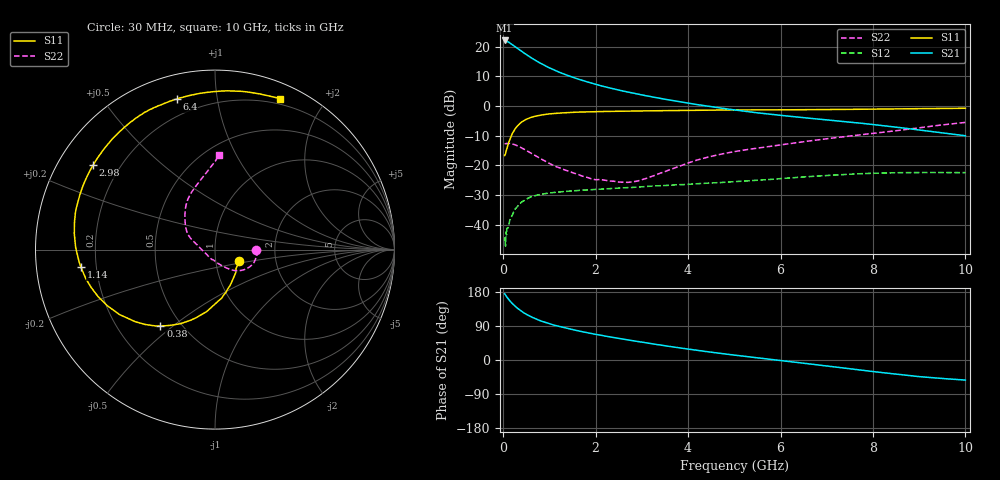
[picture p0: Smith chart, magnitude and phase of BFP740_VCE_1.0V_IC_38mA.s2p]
! Infineon Technologies  Discrete & RF Semiconductors
! BFP740
! VCE =  1.0 V,  IC =  38 mA
! Common Emitter S-Parameters:  Jan 2016
# GHz  S  MA  R  50
!  f  S11  S21  S12  S22
! GHz  MAG  ANG  MAG  ANG  MAG  ANG  MAG  ANG
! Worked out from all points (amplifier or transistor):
!   229 points, 30 MHz to 10 GHz, reference 50 ohm
!   highest |S21| = 22.0 dB at 30 MHz (marker M1)
!   |S21| within 3 dB of that: start of sweep to 340.8 MHz
!   unconditionally stable (mu >= 1): start of sweep to end of sweep
!   at 280 MHz: K = 2.08, MAG = 21.1 dB, |S12| = -34.3 dB
!   at 1.78 GHz: K = 1.81, MAG = 13.1 dB, |S12| = -28.3 dB
!   at 10 GHz: K = 2.78, MAG = -1.1 dB, |S12| = -22.4 dB
!   S11 on the Smith chart (normalised r, x): 30 MHz: 1.29, -0.17; 380 MHz: 0.39, -0.45; 1.14 GHz: 0.14, -0.06; 2.98 GHz: 0.10, +0.31; 6.4 GHz: 0.12, +0.77; 10 GHz: 0.14, +1.51
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0.03  0.1469 -26.5  12.65 174.8  0.0053 16.5  0.2305 -1.2
0.05  0.1573 -41.7  12.47 171.3  0.0044 33.7  0.2324 -2.7
0.06  0.1723 -47.6  12.41 169.3  0.0076 32.6  0.2325 -4.1
0.11  0.2313 -72.3  11.92 161.2  0.0092 48.4  0.2343 -8.5
0.15  0.2835 -85.5  11.38 155.2  0.0124 47.8  0.2325 -12.2
0.2  0.3477 -97.5  10.74 148.6  0.0148 49.9  0.2298 -17.4
0.3  0.4557 -115.0  9.434 137.3  0.0201 47.1  0.2158 -26.5
0.38  0.5228 -125.6  8.504 129.9  0.0236 43.5  0.2009 -33.0
0.5  0.5986 -137.8  7.314 120.5  0.0273 38.8  0.1791 -41.0
0.6  0.643 -145.7  6.505 114.1  0.0297 35.2  0.1617 -46.5
0.7  0.6761 -152.4  5.828 108.5  0.0312 32.4  0.1457 -51.0
0.9  0.7214 -163.0  4.789 99.4  0.0336 28.3  0.1187 -58.5
1.14  0.7533 -172.6  3.913 90.8  0.0354 24.7  0.0961 -67.2
1.7  0.7937 171.0  2.71 74.9  0.0384 20.8  0.0667 -86.7
2.2  0.8094 160.0  2.104 63.3  0.0404 18.7  0.0567 -111.3
2.98  0.8264 145.4  1.547 47.4  0.0438 17.6  0.057 -159.2
3.4  0.8346 138.2  1.343 39.5  0.0457 16.7  0.0745 -179.5
5.1  0.8592 116.1  0.84 11.5  0.054 13.2  0.1761 149.8
6.4  0.8655 104.3  0.649 -7.0  0.0634 8.8  0.2454 133.2
6.8  0.8699 100.0  0.605 -12.8  0.0664 6.1  0.2692 128.2
8.4  0.8936 80.7  0.45 -36.1  0.0753 -6.2  0.3752 105.6
10  0.9158 66.8  0.316 -52.9  0.0759 -16.6  0.5297 87.4
